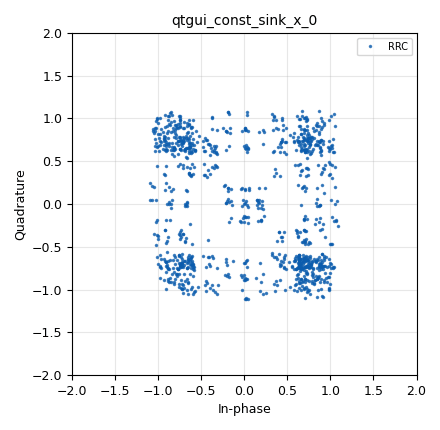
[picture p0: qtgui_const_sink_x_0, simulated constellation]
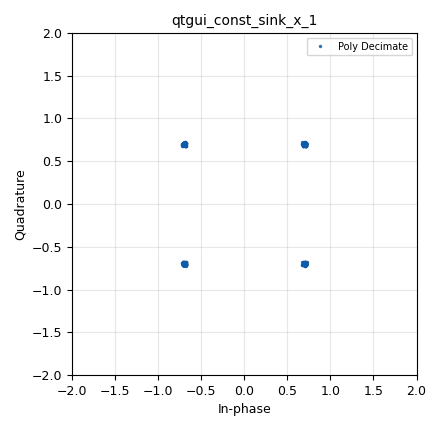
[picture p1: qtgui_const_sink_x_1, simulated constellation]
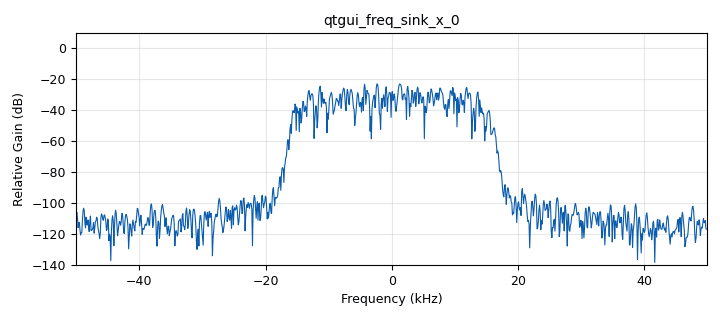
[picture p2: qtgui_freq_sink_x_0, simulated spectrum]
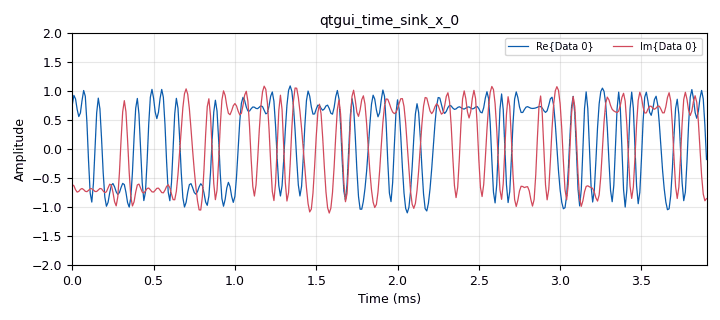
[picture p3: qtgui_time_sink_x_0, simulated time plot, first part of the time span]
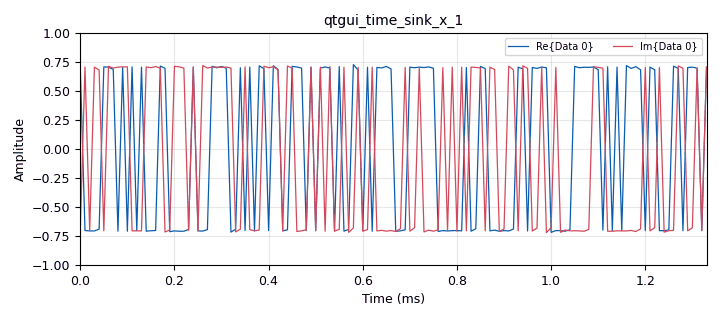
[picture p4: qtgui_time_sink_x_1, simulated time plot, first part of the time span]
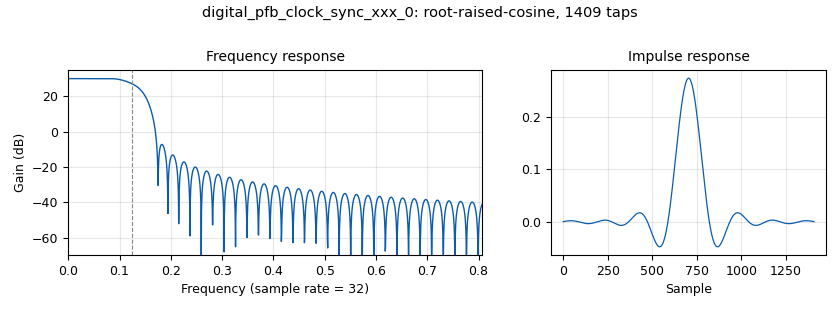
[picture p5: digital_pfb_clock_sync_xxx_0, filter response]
<?xml version='1.0' encoding='utf-8'?>
<?grc format='1' created='3.7.11'?>
<flow_graph>
<block>
<key>options</key>
<param><key>id</key><value>pulse_example</value></param>
<param><key>generate_options</key><value>qt_gui</value></param>
</block>
<block>
<key>variable</key>
<param><key>id</key><value>access_code</value></param>
<param><key>value</key><value>"1110111011101101001101101"</value></param>
</block>
<block>
<key>variable</key>
<param><key>id</key><value>bps</value></param>
<param><key>value</key><value>2</value></param>
</block>
<block>
<key>variable</key>
<param><key>id</key><value>eb</value></param>
<param><key>value</key><value>0.35</value></param>
</block>
<block>
<key>variable</key>
<param><key>id</key><value>nfilts</value></param>
<param><key>value</key><value>32</value></param>
</block>
<block>
<key>variable_header_format_default</key>
<param><key>id</key><value>pdu_format</value></param>
<param><key>access_code</key><value>digital.packet_utils.default_access_code</value></param>
<param><key>threshold</key><value>1</value></param>
</block>
<block>
<key>variable</key>
<param><key>id</key><value>pld_len</value></param>
<param><key>value</key><value>200</value></param>
</block>
<block>
<key>variable</key>
<param><key>id</key><value>preamble</value></param>
<param><key>comment</key><value>use when header
FEC is Dummy</value></param>
<param><key>value</key><value>"110100101001101111011111"</value></param>
</block>
<block>
<key>variable_constellation</key>
<param><key>id</key><value>qpsk</value></param>
<param><key>const_points</key><value>digital.psk_4()[0]</value></param>
<param><key>type</key><value>calcdist</value></param>
<param><key>dims</key><value>1</value></param>
<param><key>rot_sym</key><value>4</value></param>
<param><key>soft_dec_lut</key><value>'auto'</value></param>
<param><key>precision</key><value>8</value></param>
<param><key>sym_map</key><value>digital.psk_4()[1]</value></param>
</block>
<block>
<key>variable</key>
<param><key>id</key><value>rrc_taps</value></param>
<param><key>value</key><value>firdes.root_raised_cosine(nfilts, nfilts, 1.0/float(sps), eb, 11*sps*nfilts)</value></param>
</block>
<block>
<key>variable</key>
<param><key>id</key><value>samp_rate</value></param>
<param><key>value</key><value>100000</value></param>
</block>
<block>
<key>variable</key>
<param><key>id</key><value>sps</value></param>
<param><key>value</key><value>4</value></param>
</block>
<block>
<key>variable_rrc_filter_taps</key>
<param><key>id</key><value>tx_rrc_taps</value></param>
<param><key>alpha</key><value>eb</value></param>
<param><key>gain</key><value>sps</value></param>
<param><key>ntaps</key><value>11*sps</value></param>
<param><key>samp_rate</key><value>1</value></param>
<param><key>sym_rate</key><value>1</value></param>
</block>
<block>
<key>analog_random_source_x</key>
<param><key>id</key><value>analog_random_source_x_0</value></param>
<param><key>max</key><value>256</value></param>
<param><key>min</key><value>0</value></param>
<param><key>num_samps</key><value>pld_len</value></param>
<param><key>type</key><value>byte</value></param>
<param><key>repeat</key><value>True</value></param>
</block>
<block>
<key>blks2_packet_encoder</key>
<param><key>id</key><value>blks2_packet_encoder_0</value></param>
<param><key>access_code</key><value>access_code</value></param>
<param><key>bits_per_symbol</key><value>bps</value></param>
<param><key>_enabled</key><value>0</value></param>
<param><key>type</key><value>byte</value></param>
<param><key>pad_for_usrp</key><value>False</value></param>
<param><key>payload_length</key><value>pld_len</value></param>
<param><key>preamble</key><value>preamble</value></param>
<param><key>samples_per_symbol</key><value>sps</value></param>
</block>
<block>
<key>blocks_message_debug</key>
<param><key>id</key><value>blocks_message_debug_0</value></param>
<param><key>_enabled</key><value>0</value></param>
</block>
<block>
<key>blocks_null_source</key>
<param><key>id</key><value>blocks_null_source_0</value></param>
<param><key>bus_conns</key><value>[[0,],]</value></param>
<param><key>_enabled</key><value>0</value></param>
<param><key>type</key><value>complex</value></param>
</block>
<block>
<key>blocks_pack_k_bits_bb</key>
<param><key>id</key><value>blocks_pack_k_bits_bb_0</value></param>
<param><key>k</key><value>8</value></param>
</block>
<block>
<key>blocks_repack_bits_bb</key>
<param><key>id</key><value>blocks_repack_bits_bb_0</value></param>
<param><key>k</key><value>8</value></param>
<param><key>l</key><value>2</value></param>
<param><key>_enabled</key><value>0</value></param>
<param><key>endianness</key><value>gr.GR_MSB_FIRST</value></param>
<param><key>len_tag_key</key><value></value></param>
</block>
<block>
<key>blocks_stream_mux</key>
<param><key>id</key><value>blocks_stream_mux_0</value></param>
<param><key>_enabled</key><value>0</value></param>
<param><key>lengths</key><value>50000, 14000</value></param>
<param><key>type</key><value>complex</value></param>
</block>
<block>
<key>blocks_stream_to_tagged_stream</key>
<param><key>id</key><value>blocks_stream_to_tagged_stream_0</value></param>
<param><key>_enabled</key><value>0</value></param>
<param><key>len_tag_key</key><value>packet_len</value></param>
<param><key>packet_len</key><value>pld_len</value></param>
<param><key>type</key><value>byte</value></param>
</block>
<block>
<key>blocks_stream_to_tagged_stream</key>
<param><key>id</key><value>blocks_stream_to_tagged_stream_1</value></param>
<param><key>len_tag_key</key><value>"packet_len"</value></param>
<param><key>packet_len</key><value>100</value></param>
<param><key>type</key><value>byte</value></param>
</block>
<block>
<key>blocks_tagged_stream_to_pdu</key>
<param><key>id</key><value>blocks_tagged_stream_to_pdu_0</value></param>
<param><key>type</key><value>byte</value></param>
<param><key>tag</key><value>packet_len</value></param>
</block>
<block>
<key>blocks_throttle</key>
<param><key>id</key><value>blocks_throttle_0</value></param>
<param><key>samples_per_second</key><value>samp_rate</value></param>
<param><key>type</key><value>byte</value></param>
</block>
<block>
<key>digital_chunks_to_symbols_xx</key>
<param><key>id</key><value>digital_chunks_to_symbols_xx_0</value></param>
<param><key>dimension</key><value>2</value></param>
<param><key>_enabled</key><value>0</value></param>
<param><key>in_type</key><value>byte</value></param>
<param><key>out_type</key><value>complex</value></param>
<param><key>symbol_table</key><value>digital.psk_4()[0]</value></param>
</block>
<block>
<key>digital_constellation_decoder_cb</key>
<param><key>id</key><value>digital_constellation_decoder_cb_0</value></param>
<param><key>constellation</key><value>qpsk</value></param>
</block>
<block>
<key>digital_constellation_modulator</key>
<param><key>id</key><value>digital_constellation_modulator_0</value></param>
<param><key>constellation</key><value>qpsk</value></param>
<param><key>differential</key><value>False</value></param>
<param><key>excess_bw</key><value>eb</value></param>
<param><key>samples_per_symbol</key><value>sps</value></param>
</block>
<block>
<key>digital_map_bb</key>
<param><key>id</key><value>digital_map_bb_0</value></param>
<param><key>_enabled</key><value>0</value></param>
<param><key>map</key><value>digital.psk_4()[1]</value></param>
</block>
<block>
<key>digital_pfb_clock_sync_xxx</key>
<param><key>id</key><value>digital_pfb_clock_sync_xxx_0</value></param>
<param><key>filter_size</key><value>nfilts</value></param>
<param><key>init_phase</key><value>nfilts/2</value></param>
<param><key>loop_bw</key><value>6.28/100.0</value></param>
<param><key>max_dev</key><value>1.5</value></param>
<param><key>osps</key><value>1</value></param>
<param><key>sps</key><value>sps</value></param>
<param><key>taps</key><value>rrc_taps</value></param>
<param><key>type</key><value>ccf</value></param>
</block>
<block>
<key>qtgui_const_sink_x</key>
<param><key>id</key><value>qtgui_const_sink_x_0</value></param>
<param><key>gui_hint</key><value>tab0@0</value></param>
<param><key>label1</key><value>RRC </value></param>
<param><key>size</key><value>1024</value></param>
<param><key>type</key><value>complex</value></param>
</block>
<block>
<key>qtgui_const_sink_x</key>
<param><key>id</key><value>qtgui_const_sink_x_1</value></param>
<param><key>gui_hint</key><value>tab1@0</value></param>
<param><key>label1</key><value>Poly Decimate</value></param>
<param><key>size</key><value>1024</value></param>
<param><key>type</key><value>complex</value></param>
</block>
<block>
<key>qtgui_freq_sink_x</key>
<param><key>id</key><value>qtgui_freq_sink_x_0</value></param>
<param><key>bw</key><value>samp_rate</value></param>
<param><key>fc</key><value>0</value></param>
<param><key>fftsize</key><value>1024</value></param>
<param><key>gui_hint</key><value>tab0@1</value></param>
<param><key>showports</key><value>True</value></param>
<param><key>type</key><value>complex</value></param>
<param><key>wintype</key><value>firdes.WIN_BLACKMAN_hARRIS</value></param>
</block>
<block>
<key>qtgui_time_sink_x</key>
<param><key>id</key><value>qtgui_time_sink_x_0</value></param>
<param><key>gui_hint</key><value>tab0@2</value></param>
<param><key>color1</key><value>"blue"</value></param>
<param><key>label1</key><value></value></param>
<param><key>color2</key><value>"red"</value></param>
<param><key>label2</key><value></value></param>
<param><key>size</key><value>1000</value></param>
<param><key>srate</key><value>samp_rate</value></param>
<param><key>type</key><value>complex</value></param>
<param><key>ymax</key><value>2</value></param>
<param><key>ymin</key><value>-2</value></param>
</block>
<block>
<key>qtgui_time_sink_x</key>
<param><key>id</key><value>qtgui_time_sink_x_1</value></param>
<param><key>gui_hint</key><value>tab1@1</value></param>
<param><key>color1</key><value>"blue"</value></param>
<param><key>label1</key><value></value></param>
<param><key>color2</key><value>"red"</value></param>
<param><key>label2</key><value></value></param>
<param><key>size</key><value>500</value></param>
<param><key>srate</key><value>samp_rate</value></param>
<param><key>type</key><value>complex</value></param>
</block>
<block>
<key>qtgui_tab_widget</key>
<param><key>id</key><value>tab0</value></param>
<param><key>label0</key><value>Const</value></param>
<param><key>label1</key><value>Spectrum</value></param>
<param><key>label2</key><value>Time</value></param>
<param><key>num_tabs</key><value>3</value></param>
</block>
<block>
<key>qtgui_tab_widget</key>
<param><key>id</key><value>tab1</value></param>
<param><key>label0</key><value>Const</value></param>
<param><key>label1</key><value>Time</value></param>
<param><key>num_tabs</key><value>2</value></param>
</block>
<connection><source_block_id>analog_random_source_x_0</source_block_id><sink_block_id>blocks_stream_to_tagged_stream_0</sink_block_id><source_key>0</source_key><sink_key>0</sink_key></connection>
<connection><source_block_id>analog_random_source_x_0</source_block_id><sink_block_id>blocks_throttle_0</sink_block_id><source_key>0</source_key><sink_key>0</sink_key></connection>
<connection><source_block_id>blks2_packet_encoder_0</source_block_id><sink_block_id>blocks_repack_bits_bb_0</sink_block_id><source_key>0</source_key><sink_key>0</sink_key></connection>
<connection><source_block_id>blocks_null_source_0</source_block_id><sink_block_id>blocks_stream_mux_0</sink_block_id><source_key>0</source_key><sink_key>1</sink_key></connection>
<connection><source_block_id>blocks_pack_k_bits_bb_0</source_block_id><sink_block_id>blocks_stream_to_tagged_stream_1</sink_block_id><source_key>0</source_key><sink_key>0</sink_key></connection>
<connection><source_block_id>blocks_repack_bits_bb_0</source_block_id><sink_block_id>digital_map_bb_0</sink_block_id><source_key>0</source_key><sink_key>0</sink_key></connection>
<connection><source_block_id>blocks_stream_to_tagged_stream_0</source_block_id><sink_block_id>blks2_packet_encoder_0</sink_block_id><source_key>0</source_key><sink_key>0</sink_key></connection>
<connection><source_block_id>blocks_stream_to_tagged_stream_1</source_block_id><sink_block_id>blocks_tagged_stream_to_pdu_0</sink_block_id><source_key>0</source_key><sink_key>0</sink_key></connection>
<connection><source_block_id>blocks_tagged_stream_to_pdu_0</source_block_id><sink_block_id>blocks_message_debug_0</sink_block_id><source_key>pdus</source_key><sink_key>print_pdu</sink_key></connection>
<connection><source_block_id>blocks_throttle_0</source_block_id><sink_block_id>digital_constellation_modulator_0</sink_block_id><source_key>0</source_key><sink_key>0</sink_key></connection>
<connection><source_block_id>digital_chunks_to_symbols_xx_0</source_block_id><sink_block_id>blocks_stream_mux_0</sink_block_id><source_key>0</source_key><sink_key>0</sink_key></connection>
<connection><source_block_id>digital_constellation_decoder_cb_0</source_block_id><sink_block_id>blocks_pack_k_bits_bb_0</sink_block_id><source_key>0</source_key><sink_key>0</sink_key></connection>
<connection><source_block_id>digital_constellation_modulator_0</source_block_id><sink_block_id>blocks_stream_mux_0</sink_block_id><source_key>0</source_key><sink_key>0</sink_key></connection>
<connection><source_block_id>digital_constellation_modulator_0</source_block_id><sink_block_id>digital_constellation_decoder_cb_0</sink_block_id><source_key>0</source_key><sink_key>0</sink_key></connection>
<connection><source_block_id>digital_constellation_modulator_0</source_block_id><sink_block_id>digital_pfb_clock_sync_xxx_0</sink_block_id><source_key>0</source_key><sink_key>0</sink_key></connection>
<connection><source_block_id>digital_constellation_modulator_0</source_block_id><sink_block_id>qtgui_const_sink_x_0</sink_block_id><source_key>0</source_key><sink_key>0</sink_key></connection>
<connection><source_block_id>digital_constellation_modulator_0</source_block_id><sink_block_id>qtgui_freq_sink_x_0</sink_block_id><source_key>0</source_key><sink_key>0</sink_key></connection>
<connection><source_block_id>digital_constellation_modulator_0</source_block_id><sink_block_id>qtgui_time_sink_x_0</sink_block_id><source_key>0</source_key><sink_key>0</sink_key></connection>
<connection><source_block_id>digital_map_bb_0</source_block_id><sink_block_id>digital_chunks_to_symbols_xx_0</sink_block_id><source_key>0</source_key><sink_key>0</sink_key></connection>
<connection><source_block_id>digital_map_bb_0</source_block_id><sink_block_id>digital_constellation_modulator_0</sink_block_id><source_key>0</source_key><sink_key>0</sink_key></connection>
<connection><source_block_id>digital_pfb_clock_sync_xxx_0</source_block_id><sink_block_id>qtgui_const_sink_x_1</sink_block_id><source_key>0</source_key><sink_key>0</sink_key></connection>
<connection><source_block_id>digital_pfb_clock_sync_xxx_0</source_block_id><sink_block_id>qtgui_time_sink_x_1</sink_block_id><source_key>0</source_key><sink_key>0</sink_key></connection>
</flow_graph>
